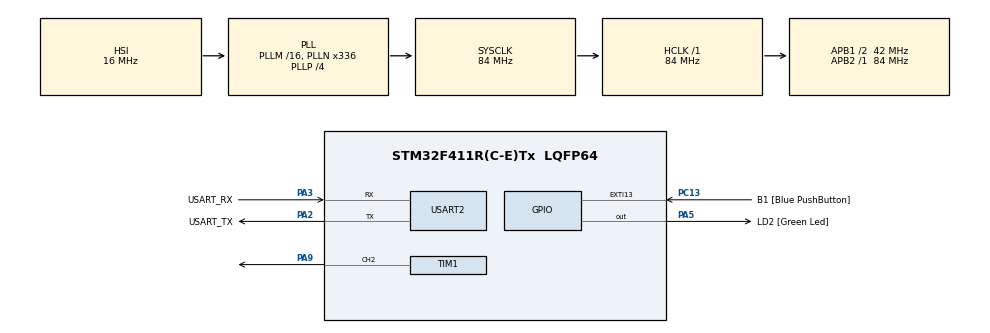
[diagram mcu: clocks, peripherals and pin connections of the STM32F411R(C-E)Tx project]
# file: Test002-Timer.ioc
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Mcu.Family=STM32F4
Mcu.Name=STM32F411R(C-E)Tx
Mcu.Package=LQFP64
NVIC.EXTI15_10_IRQn=true\:0\:3\:false\:false\:true\:true\:true\:true
NVIC.PriorityGroup=NVIC_PRIORITYGROUP_0
NVIC.TIM2_IRQn=true\:0\:0\:false\:false\:true\:true\:true\:true
NVIC.TIM3_IRQn=true\:0\:2\:false\:false\:true\:true\:true\:true
NVIC.TIM4_IRQn=true\:0\:0\:false\:false\:true\:true\:true\:true
PA13.GPIO_Label=TMS
PA13.Mode=Serial_Wire
PA13.Signal=SYS_JTMS-SWDIO
PA14.GPIO_Label=TCK
PA14.Mode=Serial_Wire
PA14.Signal=SYS_JTCK-SWCLK
PA2.GPIO_Label=USART_TX
PA2.Mode=Asynchronous
PA2.Signal=USART2_TX
PA3.GPIO_Label=USART_RX
PA3.Mode=Asynchronous
PA3.Signal=USART2_RX
PA5.GPIO_Label=LD2 [Green Led]
PA5.Signal=GPIO_Output
PA9.Signal=S_TIM1_CH2
PB3.GPIO_Label=SWO
PB3.Signal=SYS_JTDO-SWO
PC13-ANTI_TAMP.GPIO_Label=B1 [Blue PushButton]
PC13-ANTI_TAMP.GPIO_ModeDefaultEXTI=GPIO_MODE_IT_FALLING
PC13-ANTI_TAMP.Signal=GPXTI13
PC14-OSC32_IN.Mode=LSE-External-Oscillator
PC14-OSC32_IN.Signal=RCC_OSC32_IN
PC15-OSC32_OUT.Mode=LSE-External-Oscillator
PC15-OSC32_OUT.Signal=RCC_OSC32_OUT
PH0\ -\ OSC_IN.Mode=HSE-External-Clock-Source
PH0\ -\ OSC_IN.Signal=RCC_OSC_IN
PH1\ -\ OSC_OUT.Mode=HSE-External-Clock-Source
PH1\ -\ OSC_OUT.Signal=RCC_OSC_OUT
ProjectManager.HeapSize=0x200
ProjectManager.StackSize=0x400
ProjectManager.TargetToolchain=STM32CubeIDE
RCC.48MHZClocksFreq_Value=84000000
RCC.AHBFreq_Value=84000000
RCC.APB1CLKDivider=RCC_HCLK_DIV2
RCC.APB1Freq_Value=42000000
RCC.APB1TimFreq_Value=84000000
RCC.APB2Freq_Value=84000000
RCC.APB2TimFreq_Value=84000000
RCC.CortexFreq_Value=84000000
RCC.FLatency-AdvancedSettings=FLASH_LATENCY_2
RCC.HCLKFreq_Value=84000000
RCC.HSE_VALUE=8000000
RCC.HSI_VALUE=16000000
RCC.PLLN=336
RCC.PLLP=RCC_PLLP_DIV4
RCC.SYSCLKFreq_VALUE=84000000
RCC.SYSCLKSource=RCC_SYSCLKSOURCE_PLLCLK
RCC.VCOOutputFreq_Value=336000000
SH.S_TIM1_CH2.0=TIM1_CH2,PWM Generation2 CH2
TIM1.Channel-PWM\ Generation2\ CH2=TIM_CHANNEL_2
TIM1.Period=100-1
TIM1.Prescaler=840-1
TIM2.Period=2000-1
TIM2.Prescaler=8400-1
TIM3.Period=30000-1
TIM3.Prescaler=8400-1
TIM4.Period=40000-1
TIM4.Prescaler=8400-1
USART2.VirtualMode=VM_ASYNC
VP_TIM1_VS_ClockSourceINT.Mode=Internal
VP_TIM2_VS_ClockSourceINT.Mode=Internal
VP_TIM3_VS_ClockSourceINT.Mode=Internal
VP_TIM4_VS_ClockSourceINT.Mode=Internal
board=NUCLEO-F411RE

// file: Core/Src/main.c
/* USER CODE BEGIN Header */
/**
  ******************************************************************************
  * @file           : main.c
  * @brief          : Main program body
  ******************************************************************************
  * @attention
  *
  * Copyright (c) 2024 STMicroelectronics.
  * All rights reserved.
  *
  * This software is licensed under terms that can be found in the LICENSE file
  * in the root directory of this software component.
  * If no LICENSE file comes with this software, it is provided AS-IS.
  *
  ******************************************************************************
  */
/* USER CODE END Header */
#include "main.h"

TIM_HandleTypeDef htim1;
TIM_HandleTypeDef htim2;
TIM_HandleTypeDef htim3;
TIM_HandleTypeDef htim4;

UART_HandleTypeDef huart2;

void SystemClock_Config(void);
static void MX_GPIO_Init(void);
static void MX_USART2_UART_Init(void);
static void MX_TIM3_Init(void);
static void MX_TIM2_Init(void);
static void MX_TIM4_Init(void);
static void MX_TIM1_Init(void);

/* USER CODE BEGIN 0 */
int count3 = 0;
int count2 = 0;
int op = 0;
int x = 30, y = 10;

void CCR_OP()
{
	if(++op > 100) op = 0;
	printf("\033[%d;%dH\n", y, x);	// y;xH : (x,y) move cursor
	printf("Current CCR : %d \r\n", op);
}

void HAL_TIM_PeriodElapsedCallback(TIM_HandleTypeDef *htim)
{
	if(htim == &htim2)
	{
		CCR_OP();
		//printf("Timer2 elapsed...%d\r\n", count2++);
	}
	else if(htim == &htim3)
	{
		printf("    Timer3 elapsed...%d\r\n", count3++);
	}

	else if(htim == &htim4)
	{
		printf("        Timer4 elapsed...%d\r\n");
	}
}
void HAL_GPIO_EXTI_Callback(uint16_t GPIO_Pin)
{
//	if(++op > 100) op = 0;
//	printf("Current CCR : %d \r\n", op);
}

/* USER CODE END 0 */

int main(void)
{

  /* MCU Configuration--------------------------------------------------------*/

  /* Reset of all peripherals, Initializes the Flash interface and the Systick. */
  HAL_Init();

  /* Configure the system clock */
  SystemClock_Config();

  /* Initialize all configured peripherals */
  MX_GPIO_Init();
  MX_USART2_UART_Init();
  MX_TIM3_Init();
  MX_TIM2_Init();
  MX_TIM4_Init();
  MX_TIM1_Init();
  /* USER CODE BEGIN 2 */
  ProgramStart("Timer");	// B1 to start

  HAL_TIM_PWM_Start(&htim1, TIM_CHANNEL_2);	// TIM1 PWM start
  HAL_TIM_Base_Start_IT(&htim2);	// TIM2 start
//  HAL_TIM_Base_Start_IT(&htim3);	// TIM3 start
//  HAL_TIM_Base_Start_IT(&htim4);	// TIM4 start
  /* USER CODE END 2 */

  /* Infinite loop */
  /* USER CODE BEGIN WHILE */
  int mode = 1;
  while (1)
  {
	  htim1.Instance->CCR2 = op;
	  if(mode == 1)
	  {
		  HAL_GPIO_WritePin(LD2_GPIO_Port, LD2_Pin, 1);	// LD2 on
		  HAL_Delay(500);								// 500ms
		  HAL_GPIO_WritePin(LD2_GPIO_Port, LD2_Pin, 0);	// LD2 off
		  HAL_Delay(500);								// 500ms
	  }
    /* USER CODE END WHILE */

  }
}

void SystemClock_Config(void)
{
  RCC_OscInitTypeDef RCC_OscInitStruct = {0};
  RCC_ClkInitTypeDef RCC_ClkInitStruct = {0};

  /** Configure the main internal regulator output voltage
  */
  __HAL_RCC_PWR_CLK_ENABLE();
  __HAL_PWR_VOLTAGESCALING_CONFIG(PWR_REGULATOR_VOLTAGE_SCALE1);

  /** Initializes the RCC Oscillators according to the specified parameters
  * in the RCC_OscInitTypeDef structure.
  */
  RCC_OscInitStruct.OscillatorType = RCC_OSCILLATORTYPE_HSI;
  RCC_OscInitStruct.HSIState = RCC_HSI_ON;
  RCC_OscInitStruct.HSICalibrationValue = RCC_HSICALIBRATION_DEFAULT;
  RCC_OscInitStruct.PLL.PLLState = RCC_PLL_ON;
  RCC_OscInitStruct.PLL.PLLSource = RCC_PLLSOURCE_HSI;
  RCC_OscInitStruct.PLL.PLLM = 16;
  RCC_OscInitStruct.PLL.PLLN = 336;
  RCC_OscInitStruct.PLL.PLLP = RCC_PLLP_DIV4;
  RCC_OscInitStruct.PLL.PLLQ = 4;
  if (HAL_RCC_OscConfig(&RCC_OscInitStruct) != HAL_OK)
  {
    Error_Handler();
  }

  /** Initializes the CPU, AHB and APB buses clocks
  */
  RCC_ClkInitStruct.ClockType = RCC_CLOCKTYPE_HCLK|RCC_CLOCKTYPE_SYSCLK
                              |RCC_CLOCKTYPE_PCLK1|RCC_CLOCKTYPE_PCLK2;
  RCC_ClkInitStruct.SYSCLKSource = RCC_SYSCLKSOURCE_PLLCLK;
  RCC_ClkInitStruct.AHBCLKDivider = RCC_SYSCLK_DIV1;
  RCC_ClkInitStruct.APB1CLKDivider = RCC_HCLK_DIV2;
  RCC_ClkInitStruct.APB2CLKDivider = RCC_HCLK_DIV1;

  if (HAL_RCC_ClockConfig(&RCC_ClkInitStruct, FLASH_LATENCY_2) != HAL_OK)
  {
    Error_Handler();
  }
}

static void MX_TIM1_Init(void)
{

  TIM_ClockConfigTypeDef sClockSourceConfig = {0};
  TIM_MasterConfigTypeDef sMasterConfig = {0};
  TIM_OC_InitTypeDef sConfigOC = {0};
  TIM_BreakDeadTimeConfigTypeDef sBreakDeadTimeConfig = {0};

  htim1.Instance = TIM1;
  htim1.Init.Prescaler = 840-1;
  htim1.Init.CounterMode = TIM_COUNTERMODE_UP;
  htim1.Init.Period = 100-1;
  htim1.Init.ClockDivision = TIM_CLOCKDIVISION_DIV1;
  htim1.Init.RepetitionCounter = 0;
  htim1.Init.AutoReloadPreload = TIM_AUTORELOAD_PRELOAD_DISABLE;
  if (HAL_TIM_Base_Init(&htim1) != HAL_OK)
  {
    Error_Handler();
  }
  sClockSourceConfig.ClockSource = TIM_CLOCKSOURCE_INTERNAL;
  if (HAL_TIM_ConfigClockSource(&htim1, &sClockSourceConfig) != HAL_OK)
  {
    Error_Handler();
  }
  if (HAL_TIM_PWM_Init(&htim1) != HAL_OK)
  {
    Error_Handler();
  }
  sMasterConfig.MasterOutputTrigger = TIM_TRGO_RESET;
  sMasterConfig.MasterSlaveMode = TIM_MASTERSLAVEMODE_DISABLE;
  if (HAL_TIMEx_MasterConfigSynchronization(&htim1, &sMasterConfig) != HAL_OK)
  {
    Error_Handler();
  }
  sConfigOC.OCMode = TIM_OCMODE_PWM1;
  sConfigOC.Pulse = 0;
  sConfigOC.OCPolarity = TIM_OCPOLARITY_HIGH;
  sConfigOC.OCNPolarity = TIM_OCNPOLARITY_HIGH;
  sConfigOC.OCFastMode = TIM_OCFAST_DISABLE;
  sConfigOC.OCIdleState = TIM_OCIDLESTATE_RESET;
  sConfigOC.OCNIdleState = TIM_OCNIDLESTATE_RESET;
  if (HAL_TIM_PWM_ConfigChannel(&htim1, &sConfigOC, TIM_CHANNEL_2) != HAL_OK)
  {
    Error_Handler();
  }
  sBreakDeadTimeConfig.OffStateRunMode = TIM_OSSR_DISABLE;
  sBreakDeadTimeConfig.OffStateIDLEMode = TIM_OSSI_DISABLE;
  sBreakDeadTimeConfig.LockLevel = TIM_LOCKLEVEL_OFF;
  sBreakDeadTimeConfig.DeadTime = 0;
  sBreakDeadTimeConfig.BreakState = TIM_BREAK_DISABLE;
  sBreakDeadTimeConfig.BreakPolarity = TIM_BREAKPOLARITY_HIGH;
  sBreakDeadTimeConfig.AutomaticOutput = TIM_AUTOMATICOUTPUT_DISABLE;
  if (HAL_TIMEx_ConfigBreakDeadTime(&htim1, &sBreakDeadTimeConfig) != HAL_OK)
  {
    Error_Handler();
  }
  HAL_TIM_MspPostInit(&htim1);

}

static void MX_TIM2_Init(void)
{

  TIM_ClockConfigTypeDef sClockSourceConfig = {0};
  TIM_MasterConfigTypeDef sMasterConfig = {0};

  htim2.Instance = TIM2;
  htim2.Init.Prescaler = 8400-1;
  htim2.Init.CounterMode = TIM_COUNTERMODE_UP;
  htim2.Init.Period = 2000-1;
  htim2.Init.ClockDivision = TIM_CLOCKDIVISION_DIV1;
  htim2.Init.AutoReloadPreload = TIM_AUTORELOAD_PRELOAD_DISABLE;
  if (HAL_TIM_Base_Init(&htim2) != HAL_OK)
  {
    Error_Handler();
  }
  sClockSourceConfig.ClockSource = TIM_CLOCKSOURCE_INTERNAL;
  if (HAL_TIM_ConfigClockSource(&htim2, &sClockSourceConfig) != HAL_OK)
  {
    Error_Handler();
  }
  sMasterConfig.MasterOutputTrigger = TIM_TRGO_RESET;
  sMasterConfig.MasterSlaveMode = TIM_MASTERSLAVEMODE_DISABLE;
  if (HAL_TIMEx_MasterConfigSynchronization(&htim2, &sMasterConfig) != HAL_OK)
  {
    Error_Handler();
  }

}

static void MX_TIM3_Init(void)
{

  TIM_ClockConfigTypeDef sClockSourceConfig = {0};
  TIM_MasterConfigTypeDef sMasterConfig = {0};

  htim3.Instance = TIM3;
  htim3.Init.Prescaler = 8400-1;
  htim3.Init.CounterMode = TIM_COUNTERMODE_UP;
  htim3.Init.Period = 30000-1;
  htim3.Init.ClockDivision = TIM_CLOCKDIVISION_DIV1;
  htim3.Init.AutoReloadPreload = TIM_AUTORELOAD_PRELOAD_DISABLE;
  if (HAL_TIM_Base_Init(&htim3) != HAL_OK)
  {
    Error_Handler();
  }
  sClockSourceConfig.ClockSource = TIM_CLOCKSOURCE_INTERNAL;
  if (HAL_TIM_ConfigClockSource(&htim3, &sClockSourceConfig) != HAL_OK)
  {
    Error_Handler();
  }
  sMasterConfig.MasterOutputTrigger = TIM_TRGO_RESET;
  sMasterConfig.MasterSlaveMode = TIM_MASTERSLAVEMODE_DISABLE;
  if (HAL_TIMEx_MasterConfigSynchronization(&htim3, &sMasterConfig) != HAL_OK)
  {
    Error_Handler();
  }

}

static void MX_TIM4_Init(void)
{

  TIM_ClockConfigTypeDef sClockSourceConfig = {0};
  TIM_MasterConfigTypeDef sMasterConfig = {0};

  htim4.Instance = TIM4;
  htim4.Init.Prescaler = 8400-1;
  htim4.Init.CounterMode = TIM_COUNTERMODE_UP;
  htim4.Init.Period = 40000-1;
  htim4.Init.ClockDivision = TIM_CLOCKDIVISION_DIV1;
  htim4.Init.AutoReloadPreload = TIM_AUTORELOAD_PRELOAD_DISABLE;
  if (HAL_TIM_Base_Init(&htim4) != HAL_OK)
  {
    Error_Handler();
  }
  sClockSourceConfig.ClockSource = TIM_CLOCKSOURCE_INTERNAL;
  if (HAL_TIM_ConfigClockSource(&htim4, &sClockSourceConfig) != HAL_OK)
  {
    Error_Handler();
  }
  sMasterConfig.MasterOutputTrigger = TIM_TRGO_RESET;
  sMasterConfig.MasterSlaveMode = TIM_MASTERSLAVEMODE_DISABLE;
  if (HAL_TIMEx_MasterConfigSynchronization(&htim4, &sMasterConfig) != HAL_OK)
  {
    Error_Handler();
  }

}

static void MX_USART2_UART_Init(void)
{

  huart2.Instance = USART2;
  huart2.Init.BaudRate = 115200;
  huart2.Init.WordLength = UART_WORDLENGTH_8B;
  huart2.Init.StopBits = UART_STOPBITS_1;
  huart2.Init.Parity = UART_PARITY_NONE;
  huart2.Init.Mode = UART_MODE_TX_RX;
  huart2.Init.HwFlowCtl = UART_HWCONTROL_NONE;
  huart2.Init.OverSampling = UART_OVERSAMPLING_16;
  if (HAL_UART_Init(&huart2) != HAL_OK)
  {
    Error_Handler();
  }

}

static void MX_GPIO_Init(void)
{
  GPIO_InitTypeDef GPIO_InitStruct = {0};

  /* GPIO Ports Clock Enable */
  __HAL_RCC_GPIOC_CLK_ENABLE();
  __HAL_RCC_GPIOH_CLK_ENABLE();
  __HAL_RCC_GPIOA_CLK_ENABLE();
  __HAL_RCC_GPIOB_CLK_ENABLE();

  /*Configure GPIO pin Output Level */
  HAL_GPIO_WritePin(LD2_GPIO_Port, LD2_Pin, GPIO_PIN_RESET);

  /*Configure GPIO pin : B1_Pin */
  GPIO_InitStruct.Pin = B1_Pin;
  GPIO_InitStruct.Mode = GPIO_MODE_IT_FALLING;
  GPIO_InitStruct.Pull = GPIO_NOPULL;
  HAL_GPIO_Init(B1_GPIO_Port, &GPIO_InitStruct);

  /*Configure GPIO pin : LD2_Pin */
  GPIO_InitStruct.Pin = LD2_Pin;
  GPIO_InitStruct.Mode = GPIO_MODE_OUTPUT_PP;
  GPIO_InitStruct.Pull = GPIO_NOPULL;
  GPIO_InitStruct.Speed = GPIO_SPEED_FREQ_LOW;
  HAL_GPIO_Init(LD2_GPIO_Port, &GPIO_InitStruct);

  /* EXTI interrupt init*/
  HAL_NVIC_SetPriority(EXTI15_10_IRQn, 0, 3);
  HAL_NVIC_EnableIRQ(EXTI15_10_IRQn);

}

void Error_Handler(void)
{
  __disable_irq();
  while (1)
  {
  }
}
